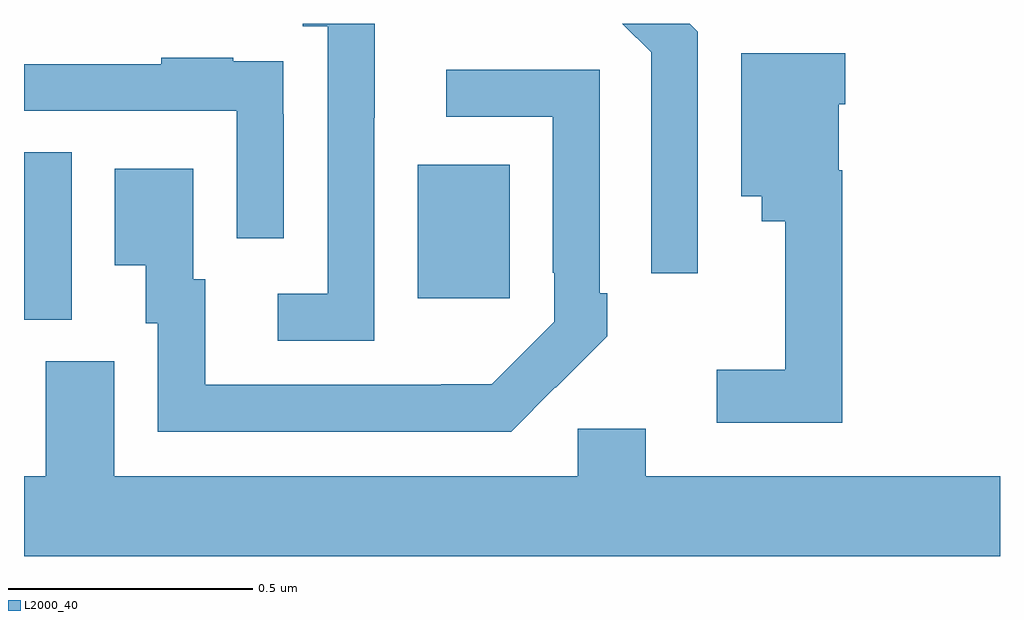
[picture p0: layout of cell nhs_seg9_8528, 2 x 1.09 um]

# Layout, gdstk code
import gdstk
lib = gdstk.Library(unit=1e-6, precision=1e-09)
def R(c, l, rs):  # rectangles x0, y0, x1, y1
    for r in rs: c.add(gdstk.rectangle(r[:2], r[2:], *l))
def P(c, l, *ps):  # polygons
    for p in ps: c.add(gdstk.Polygon(p, *l))
L2000_40 = (2000, 40)

nhs_seg9_8528 = lib.new_cell('nhs_seg9_8528')
R(nhs_seg9_8528, L2000_40, [(218,1208.893,218.098,1209.236), (218.807,1208.937,218.995,1209.211)])
P(nhs_seg9_8528, L2000_40, [(218.718,1209.307),(218.719,1209.307),(218.719,1209.5),(218.571,1209.5),(218.571,1209.494),(218.622,1209.494),(218.622,1208.946),(218.52,1208.946),(218.52,1208.85),(218.718,1208.85)],
  [(219.381,1209.483),(219.364,1209.5),(219.226,1209.5),(219.285,1209.441),(219.285,1208.988),(219.381,1208.988)],
  [(219.677,1209.199),(219.67,1209.199),(219.67,1209.335),(219.683,1209.335),(219.683,1209.439),(219.47,1209.439),(219.47,1209.146),(219.512,1209.146),(219.512,1209.095),(219.56,1209.095),(219.56,1208.791),(219.42,1208.791),(219.42,1208.682),(219.677,1208.682)],
  [(218.532,1209.314),(218.531,1209.314),(218.531,1209.423),(218.429,1209.423),(218.429,1209.43),(218.281,1209.43),(218.281,1209.417),(218,1209.417),(218,1209.321),(218.436,1209.321),(218.436,1209.06),(218.532,1209.06)],
  [(219.089,1208.755),(219.09,1208.754),(219.195,1208.859),(219.195,1208.947),(219.18,1208.947),(219.18,1209.405),(218.865,1209.405),(218.865,1209.309),(219.084,1209.309),(219.084,1208.989),(219.087,1208.989),(219.087,1208.889),(218.959,1208.761),(218.855,1208.761),(218.855,1208.76),(218.371,1208.76),(218.371,1208.976),(218.347,1208.976),(218.347,1209.202),(218.186,1209.202),(218.186,1209.005),(218.249,1209.005),(218.249,1208.886),(218.274,1208.886),(218.274,1208.664),(218.998,1208.664)],
  [(220,1208.572),(219.274,1208.572),(219.274,1208.67),(219.135,1208.67),(219.135,1208.572),(218.185,1208.572),(218.185,1208.808),(218.045,1208.808),(218.045,1208.572),(218,1208.572),(218,1208.408),(220,1208.408)])

lib.write_gds('nhs_seg9_8528.gds')
